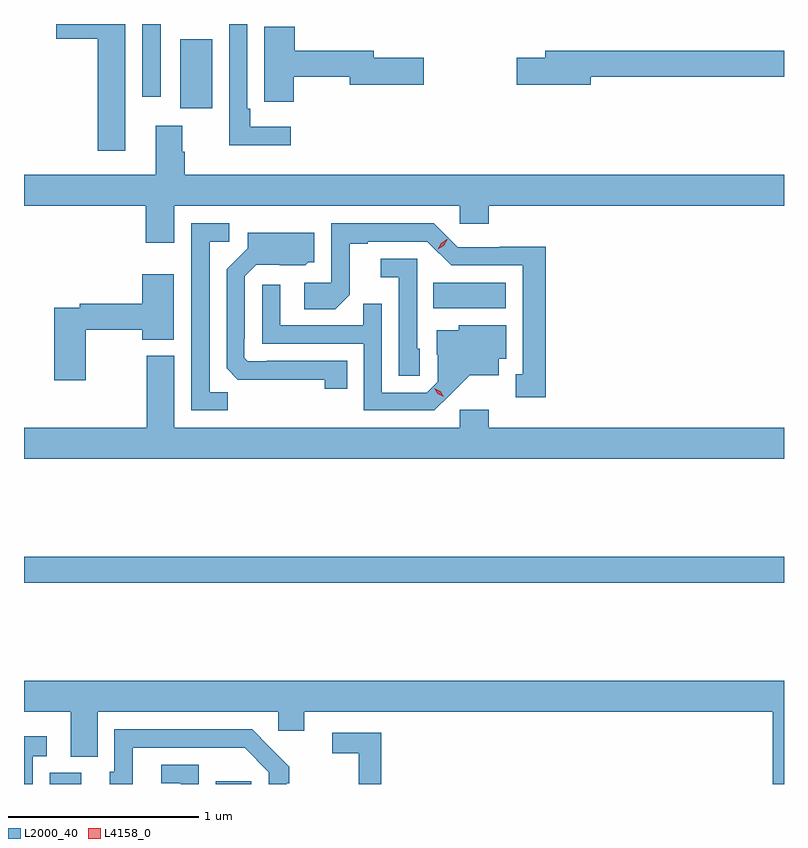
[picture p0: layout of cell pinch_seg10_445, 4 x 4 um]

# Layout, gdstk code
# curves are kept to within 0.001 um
import gdstk
lib = gdstk.Library(unit=1e-6, precision=1e-09)
def R(c, l, rs):  # rectangles x0, y0, x1, y1
    for r in rs: c.add(gdstk.rectangle(r[:2], r[2:], *l))
def P(c, l, *ps):  # polygons
    for p in ps: c.add(gdstk.Polygon(p, *l))
L2000_40 = (2000, 40)
L4158_0 = (4158, 0)

pinch_seg10_445 = lib.new_cell('pinch_seg10_445')
R(pinch_seg10_445, L2000_40, [(322.718,1314.589,322.882,1314.648), (323.591,1314.589,323.779,1314.604), (322.582,1315.648,326.582,1315.784), (324.736,1317.092,325.117,1317.226), (323.405,1318.146,323.572,1318.508), (323.205,1318.206,323.301,1318.589)])
P(pinch_seg10_445, L2000_40, [(323.116,1318.589),(322.752,1318.589),(322.752,1318.511),(322.97,1318.511),(322.97,1317.921),(323.116,1317.921)],
  [(323.986,1318.048),(323.773,1318.048),(323.773,1318.144),(323.757,1318.144),(323.757,1318.589),(323.661,1318.589),(323.661,1317.95),(323.986,1317.95)],
  [(324.003,1318.312),(324.296,1318.312),(324.296,1318.27),(324.685,1318.27),(324.685,1318.412),(324.424,1318.412),(324.424,1318.448),(324.008,1318.448),(324.008,1318.575),(323.846,1318.575),(323.846,1318.291),(323.847,1318.291),(323.847,1318.179),(324.003,1318.179)],
  [(325.564,1318.312),(326.582,1318.312),(326.582,1318.448),(325.325,1318.448),(325.325,1318.412),(325.176,1318.412),(325.176,1318.27),(325.564,1318.27)],
  [(323.374,1317.632),(324.876,1317.632),(324.876,1317.539),(325.028,1317.539),(325.028,1317.632),(326.582,1317.632),(326.582,1317.796),(323.429,1317.796),(323.429,1317.917),(323.416,1317.917),(323.416,1318.054),(323.276,1318.054),(323.276,1317.796),(322.582,1317.796),(322.582,1317.632),(323.222,1317.632),(323.222,1317.438),(323.374,1317.438)],
  [(325.327,1317.416),(325.086,1317.416),(325.086,1317.414),(324.864,1317.414),(324.738,1317.54),(324.198,1317.54),(324.198,1317.228),(324.057,1317.228),(324.057,1317.088),(324.221,1317.088),(324.297,1317.164),(324.297,1317.432),(324.391,1317.432),(324.391,1317.444),(324.705,1317.444),(324.831,1317.318),(325.208,1317.318),(325.208,1316.745),(325.169,1316.745),(325.169,1316.625),(325.327,1316.625)],
  [(323.655,1316.651),(323.559,1316.651),(323.559,1317.444),(323.662,1317.444),(323.662,1317.54),(323.463,1317.54),(323.463,1316.556),(323.655,1316.556)],
  [(324.284,1316.817),(323.86,1316.817),(323.86,1316.814),(323.76,1316.814),(323.742,1316.832),(323.742,1316.932),(323.745,1316.932),(323.745,1317.261),(323.805,1317.321),(324.062,1317.32),(324.078,1317.336),(324.109,1317.336),(324.109,1317.49),(323.759,1317.49),(323.759,1317.408),(323.649,1317.298),(323.649,1316.776),(323.708,1316.717),(324.166,1316.716),(324.166,1316.67),(324.284,1316.67)],
  [(324.666,1316.88),(324.651,1316.88),(324.651,1317.354),(324.459,1317.354),(324.459,1317.257),(324.555,1317.257),(324.555,1316.737),(324.666,1316.737)],
  [(322.908,1316.98),(323.204,1316.98),(323.204,1316.927),(323.371,1316.927),(323.371,1317.271),(323.204,1317.271),(323.204,1317.116),(322.876,1317.116),(322.876,1317.096),(322.742,1317.096),(322.742,1316.715),(322.908,1316.715)],
  [(324.826,1316.639),(324.929,1316.741),(325.081,1316.741),(325.081,1316.828),(325.12,1316.828),(325.12,1317.004),(324.87,1317.004),(324.87,1316.977),(324.755,1316.977),(324.755,1316.848),(324.759,1316.848),(324.759,1316.706),(324.702,1316.649),(324.465,1316.649),(324.465,1317.116),(324.367,1317.116),(324.367,1317.003),(323.931,1317.003),(323.931,1317.217),(323.835,1317.217),(323.835,1316.907),(324.369,1316.907),(324.369,1316.556),(324.742,1316.556)],
  [(326.582,1316.464),(325.028,1316.464),(325.028,1316.56),(324.876,1316.56),(324.876,1316.464),(323.374,1316.464),(323.374,1316.842),(323.227,1316.842),(323.227,1316.464),(322.582,1316.464),(322.582,1316.3),(326.582,1316.3)],
  [(326.582,1315.132),(322.582,1315.132),(322.582,1314.968),(322.829,1314.968),(322.829,1314.733),(322.969,1314.733),(322.969,1314.968),(323.919,1314.968),(323.919,1314.87),(324.058,1314.87),(324.058,1314.968),(326.522,1314.968),(326.522,1314.589),(326.582,1314.589)],
  [(323.155,1314.78),(323.743,1314.78),(323.871,1314.651),(323.871,1314.589),(323.964,1314.589),(323.964,1314.593),(323.979,1314.593),(323.979,1314.681),(323.782,1314.876),(323.058,1314.876),(323.058,1314.654),(323.033,1314.654),(323.033,1314.589),(323.155,1314.589)],
  [(324.461,1314.858),(324.204,1314.858),(324.204,1314.75),(324.344,1314.75),(324.344,1314.589),(324.461,1314.589)],
  [(322.629,1314.735),(322.702,1314.735),(322.702,1314.841),(322.582,1314.841),(322.582,1314.589),(322.629,1314.589)],
  [(323.502,1314.69),(323.304,1314.69),(323.304,1314.594),(323.406,1314.594),(323.406,1314.589),(323.502,1314.589)])
P(pinch_seg10_445, L4158_0, [(324.76,1317.403),(324.76,1317.403),(324.777,1317.436),(324.808,1317.455),(324.809,1317.455),(324.809,1317.454),(324.791,1317.422),(324.76,1317.403)],
  [(324.79,1316.628),(324.759,1316.643),(324.742,1316.672),(324.742,1316.672),(324.742,1316.672),(324.773,1316.657),(324.791,1316.628),(324.791,1316.628)])

lib.write_gds('pinch_seg10_445.gds')
